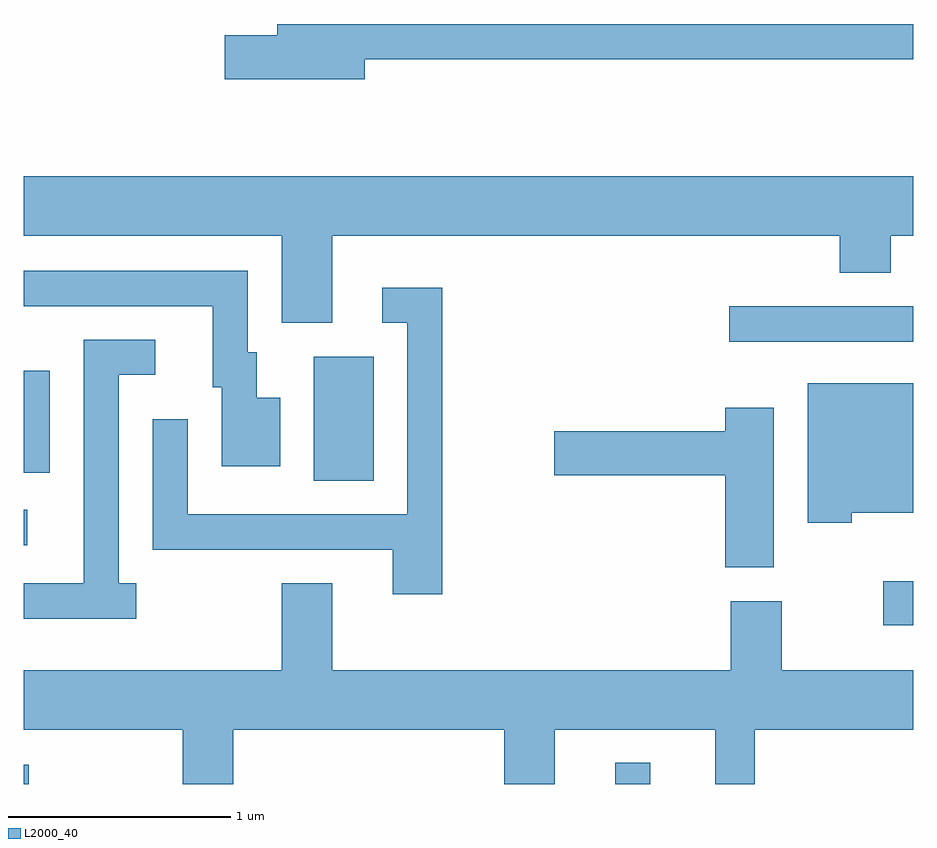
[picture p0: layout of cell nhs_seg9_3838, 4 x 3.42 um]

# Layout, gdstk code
import gdstk
lib = gdstk.Library(unit=1e-6, precision=1e-09)
def R(c, l, rs):  # rectangles x0, y0, x1, y1
    for r in rs: c.add(gdstk.rectangle(r[:2], r[2:], *l))
def P(c, l, *ps):  # polygons
    for p in ps: c.add(gdstk.Polygon(p, *l))
L2000_40 = (2000, 40)

nhs_seg9_3838 = lib.new_cell('nhs_seg9_3838')
R(nhs_seg9_3838, L2000_40, [(297.611,2020.432,297.634,2020.519), (300.271,2020.432,300.429,2020.528), (301.476,2021.146,301.611,2021.344), (297.611,2021.506,297.628,2021.664), (298.916,2021.796,299.184,2022.354), (297.611,2021.831,297.729,2022.289), (300.783,2022.421,301.611,2022.579)])
P(nhs_seg9_3838, L2000_40, [(299.144,2023.691),(301.611,2023.691),(301.611,2023.849),(298.751,2023.849),(298.751,2023.799),(298.516,2023.799),(298.516,2023.601),(299.144,2023.601)],
  [(298.999,2022.896),(301.281,2022.896),(301.281,2022.731),(301.509,2022.731),(301.509,2022.896),(301.611,2022.896),(301.611,2023.164),(297.611,2023.164),(297.611,2022.896),(298.771,2022.896),(298.771,2022.506),(298.999,2022.506)],
  [(298.764,2022.169),(298.659,2022.169),(298.659,2022.374),(298.619,2022.374),(298.619,2022.739),(297.611,2022.739),(297.611,2022.581),(298.461,2022.581),(298.461,2022.216),(298.501,2022.216),(298.501,2021.861),(298.764,2021.861)],
  [(299.494,2022.664),(299.223,2022.664),(299.223,2022.506),(299.336,2022.506),(299.336,2021.644),(298.349,2021.644),(298.349,2022.073),(298.191,2022.073),(298.191,2021.486),(299.271,2021.486),(299.271,2021.286),(299.494,2021.286)],
  [(298.118,2021.334),(298.039,2021.334),(298.039,2022.271),(298.203,2022.271),(298.203,2022.429),(297.881,2022.429),(297.881,2021.334),(297.611,2021.334),(297.611,2021.176),(298.118,2021.176)],
  [(301.334,2021.651),(301.611,2021.651),(301.611,2022.234),(301.136,2022.234),(301.136,2021.606),(301.334,2021.606)],
  [(300.984,2022.124),(300.766,2022.124),(300.766,2022.019),(299.996,2022.019),(299.996,2021.821),(300.766,2021.821),(300.766,2021.406),(300.984,2021.406)],
  [(298.554,2020.676),(299.771,2020.676),(299.771,2020.432),(299.999,2020.432),(299.999,2020.676),(300.721,2020.676),(300.721,2020.432),(300.899,2020.432),(300.899,2020.676),(301.611,2020.676),(301.611,2020.944),(301.019,2020.944),(301.019,2021.254),(300.791,2021.254),(300.791,2020.944),(298.999,2020.944),(298.999,2021.334),(298.771,2021.334),(298.771,2020.944),(297.611,2020.944),(297.611,2020.676),(298.326,2020.676),(298.326,2020.432),(298.554,2020.432)])

lib.write_gds('nhs_seg9_3838.gds')
